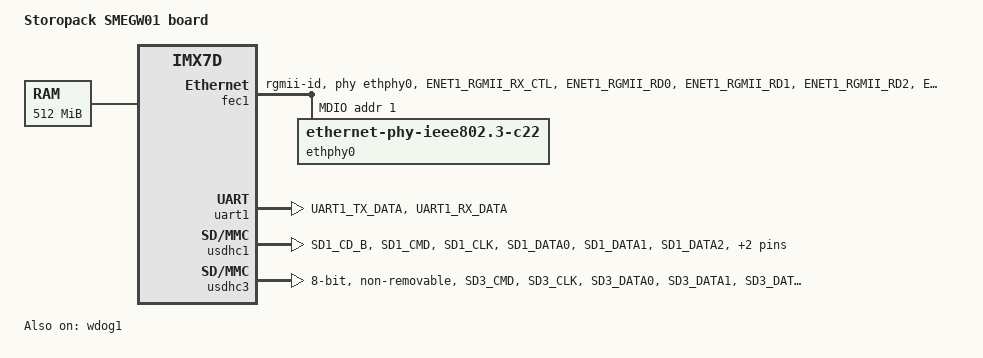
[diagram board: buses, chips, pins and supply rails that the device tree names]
// SPDX-License-Identifier: (GPL-2.0+ OR MIT)
//
// Copyright (C) 2020 PHYTEC Messtechnik GmbH
// Author: Jens Lang  <J.Lang@phytec.de>
// Copyright (C) 2021 Fabio Estevam <festevam@denx.de>

/dts-v1/;
#include "imx7d.dtsi"

/ {
	model = "Storopack SMEGW01 board";
	compatible = "storopack,imx7d-smegw01", "fsl,imx7d";

	aliases {
		mmc0 = &usdhc1;
		mmc1 = &usdhc3;
	};

	chosen {
		stdout-path = &uart1;
	};

	memory@80000000 {
		device_type = "memory";
		reg = <0x80000000 0x20000000>;
	};
};

&fec1 {
	pinctrl-names = "default";
	pinctrl-0 = <&pinctrl_enet1>;
	assigned-clocks = <&clks IMX7D_ENET1_TIME_ROOT_SRC>,
			  <&clks IMX7D_ENET1_TIME_ROOT_CLK>;
	assigned-clock-parents = <&clks IMX7D_PLL_ENET_MAIN_100M_CLK>;
	assigned-clock-rates = <0>, <100000000>;
	phy-mode = "rgmii-id";
	phy-handle = <&ethphy0>;
	fsl,magic-packet;
	status = "okay";

	mdio: mdio {
		#address-cells = <1>;
		#size-cells = <0>;

		ethphy0: ethernet-phy@1 {
			compatible = "ethernet-phy-ieee802.3-c22";
			reg = <1>;
		};
	};
};

&uart1 {
	pinctrl-names = "default";
	pinctrl-0 = <&pinctrl_uart1>;
	status = "okay";
};

&usdhc1 {
	pinctrl-names = "default";
	pinctrl-0 = <&pinctrl_usdhc1>;
	cd-gpios = <&gpio5 0 GPIO_ACTIVE_LOW>;
	no-1-8-v;
	enable-sdio-wakeup;
	keep-power-in-suspend;
	status = "okay";
};

&usdhc3 {
	pinctrl-names = "default", "state_100mhz", "state_200mhz";
	pinctrl-0 = <&pinctrl_usdhc3>;
	pinctrl-1 = <&pinctrl_usdhc3_100mhz>;
	pinctrl-2 = <&pinctrl_usdhc3_200mhz>;
	assigned-clocks = <&clks IMX7D_USDHC3_ROOT_CLK>;
	assigned-clock-rates = <400000000>;
	max-frequency = <200000000>;
	bus-width = <8>;
	fsl,tuning-step = <1>;
	non-removable;
	cap-sd-highspeed;
	cap-mmc-highspeed;
	cap-mmc-hw-reset;
	mmc-hs200-1_8v;
	mmc-ddr-1_8v;
	sd-uhs-ddr50;
	sd-uhs-sdr104;
	status = "okay";
};

&wdog1 {
	pinctrl-names = "default";
	pinctrl-0 = <&pinctrl_wdog>;
	fsl,ext-reset-output;
	status = "okay";
};

&iomuxc {
	pinctrl_enet1: enet1grp {
		fsl,pins = <
			MX7D_PAD_ENET1_RGMII_RX_CTL__ENET1_RGMII_RX_CTL 0x5
			MX7D_PAD_ENET1_RGMII_RD0__ENET1_RGMII_RD0	0x5
			MX7D_PAD_ENET1_RGMII_RD1__ENET1_RGMII_RD1	0x5
			MX7D_PAD_ENET1_RGMII_RD2__ENET1_RGMII_RD2	0x5
			MX7D_PAD_ENET1_RGMII_RD3__ENET1_RGMII_RD3	0x5
			MX7D_PAD_ENET1_RGMII_RXC__ENET1_RGMII_RXC	0x5
			MX7D_PAD_ENET1_RGMII_TX_CTL__ENET1_RGMII_TX_CTL	0x5
			MX7D_PAD_ENET1_RGMII_TD0__ENET1_RGMII_TD0	0x5
			MX7D_PAD_ENET1_RGMII_TD1__ENET1_RGMII_TD1	0x5
			MX7D_PAD_ENET1_RGMII_TD2__ENET1_RGMII_TD2	0x5
			MX7D_PAD_ENET1_RGMII_TD3__ENET1_RGMII_TD3	0x5
			MX7D_PAD_ENET1_RGMII_TXC__ENET1_RGMII_TXC	0x5
			MX7D_PAD_GPIO1_IO10__ENET1_MDIO		0x7
			MX7D_PAD_GPIO1_IO11__ENET1_MDC		0x7
		>;
	};

	pinctrl_uart1: uart1grp {
		fsl,pins = <
			MX7D_PAD_UART1_TX_DATA__UART1_DCE_TX	0x74
			MX7D_PAD_UART1_RX_DATA__UART1_DCE_RX	0x7c
		>;
	};

	pinctrl_usdhc1: usdhc1 {
		fsl,pins = <
			MX7D_PAD_SD1_CD_B__GPIO5_IO0		0x59
			MX7D_PAD_SD1_CMD__SD1_CMD		0x59
			MX7D_PAD_SD1_CLK__SD1_CLK		0x19
			MX7D_PAD_SD1_DATA0__SD1_DATA0		0x59
			MX7D_PAD_SD1_DATA1__SD1_DATA1		0x59
			MX7D_PAD_SD1_DATA2__SD1_DATA2		0x59
			MX7D_PAD_SD1_DATA3__SD1_DATA3		0x59
		>;
	};

	pinctrl_usdhc3: usdhc3 {
		fsl,pins = <
			MX7D_PAD_SD3_CMD__SD3_CMD		0x5d
			MX7D_PAD_SD3_CLK__SD3_CLK		0x1d
			MX7D_PAD_SD3_DATA0__SD3_DATA0		0x5d
			MX7D_PAD_SD3_DATA1__SD3_DATA1		0x5d
			MX7D_PAD_SD3_DATA2__SD3_DATA2		0x5d
			MX7D_PAD_SD3_DATA3__SD3_DATA3		0x5d
			MX7D_PAD_SD3_DATA4__SD3_DATA4		0x5d
			MX7D_PAD_SD3_DATA5__SD3_DATA5		0x5d
			MX7D_PAD_SD3_DATA6__SD3_DATA6		0x5d
			MX7D_PAD_SD3_DATA7__SD3_DATA7		0x5d
			MX7D_PAD_SD3_STROBE__SD3_STROBE	0x1d
		>;
	};

	pinctrl_usdhc3_100mhz: usdhc3_100mhz {
		fsl,pins = <
			MX7D_PAD_SD3_CMD__SD3_CMD		0x5e
			MX7D_PAD_SD3_CLK__SD3_CLK		0x1e
			MX7D_PAD_SD3_DATA0__SD3_DATA0		0x5e
			MX7D_PAD_SD3_DATA1__SD3_DATA1		0x5e
			MX7D_PAD_SD3_DATA2__SD3_DATA2		0x5e
			MX7D_PAD_SD3_DATA3__SD3_DATA3		0x5e
			MX7D_PAD_SD3_DATA4__SD3_DATA4		0x5e
			MX7D_PAD_SD3_DATA5__SD3_DATA5		0x5e
			MX7D_PAD_SD3_DATA6__SD3_DATA6		0x5e
			MX7D_PAD_SD3_DATA7__SD3_DATA7		0x5e
			MX7D_PAD_SD3_STROBE__SD3_STROBE	0x1e
		>;
	};

	pinctrl_usdhc3_200mhz: usdhc3_200mhz {
		fsl,pins = <
			MX7D_PAD_SD3_CMD__SD3_CMD		0x5f
			MX7D_PAD_SD3_CLK__SD3_CLK		0x0f
			MX7D_PAD_SD3_DATA0__SD3_DATA0		0x5f
			MX7D_PAD_SD3_DATA1__SD3_DATA1		0x5f
			MX7D_PAD_SD3_DATA2__SD3_DATA2		0x5f
			MX7D_PAD_SD3_DATA3__SD3_DATA3		0x5f
			MX7D_PAD_SD3_DATA4__SD3_DATA4		0x5f
			MX7D_PAD_SD3_DATA5__SD3_DATA5		0x5f
			MX7D_PAD_SD3_DATA6__SD3_DATA6		0x5f
			MX7D_PAD_SD3_DATA7__SD3_DATA7		0x5f
			MX7D_PAD_SD3_STROBE__SD3_STROBE	0x1f
		>;
	};
};

&iomuxc_lpsr {
	pinctrl_wdog: wdoggrp {
		fsl,pins = <
			MX7D_PAD_LPSR_GPIO1_IO00__WDOG1_WDOG_B 0x74
		>;
	};
};
